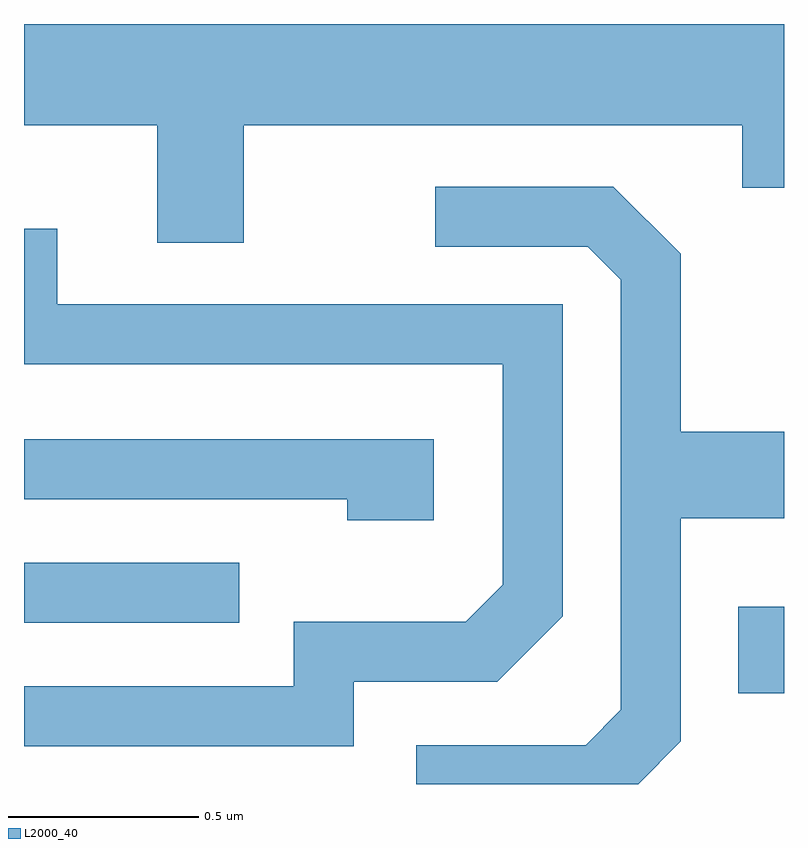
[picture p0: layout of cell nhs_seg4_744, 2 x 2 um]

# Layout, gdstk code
import gdstk
lib = gdstk.Library(unit=1e-6, precision=1e-09)
def R(c, l, rs):  # rectangles x0, y0, x1, y1
    for r in rs: c.add(gdstk.rectangle(r[:2], r[2:], *l))
def P(c, l, *ps):  # polygons
    for p in ps: c.add(gdstk.Polygon(p, *l))
L2000_40 = (2000, 40)

nhs_seg4_744 = lib.new_cell('nhs_seg4_744')
R(nhs_seg4_744, L2000_40, [(192.491,1313.221,192.611,1313.449), (190.611,1313.406,191.178,1313.564)])
P(nhs_seg4_744, L2000_40, [(191.189,1314.716),(192.501,1314.716),(192.501,1314.551),(192.611,1314.551),(192.611,1314.982),(190.611,1314.982),(190.611,1314.716),(190.961,1314.716),(190.961,1314.406),(191.189,1314.406)],
  [(192.339,1313.094),(192.339,1313.681),(192.611,1313.681),(192.611,1313.909),(192.339,1313.909),(192.339,1314.377),(192.162,1314.554),(191.693,1314.554),(191.693,1314.396),(192.094,1314.396),(192.181,1314.309),(192.181,1313.177),(192.089,1313.084),(191.643,1313.084),(191.643,1312.982),(192.228,1312.982)],
  [(191.479,1313.251),(191.857,1313.251),(192.029,1313.424),(192.029,1314.244),(190.699,1314.244),(190.699,1314.443),(190.611,1314.443),(190.611,1314.086),(191.871,1314.086),(191.871,1313.507),(191.774,1313.409),(191.321,1313.409),(191.321,1313.239),(190.611,1313.239),(190.611,1313.081),(191.479,1313.081)],
  [(191.689,1313.889),(190.611,1313.889),(190.611,1313.731),(191.461,1313.731),(191.461,1313.676),(191.689,1313.676)])

lib.write_gds('nhs_seg4_744.gds')
